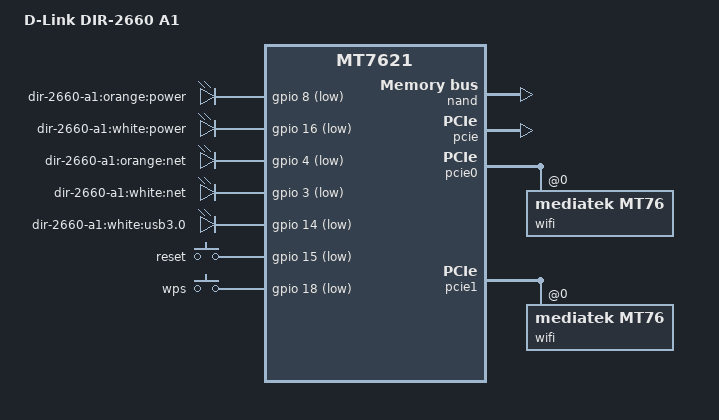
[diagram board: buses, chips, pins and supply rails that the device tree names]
/dts-v1/;

#include "mt7621.dtsi"

#include <dt-bindings/gpio/gpio.h>
#include <dt-bindings/input/input.h>

/ {
	compatible = "dlink,dir-2660-a1", "mediatek,mt7621-soc";
	model = "D-Link DIR-2660 A1";

	aliases {
		led-boot = &led_power_orange;
		led-failsafe = &led_power_white;
		led-running = &led_power_white;
		led-upgrade = &led_net_orange;
		label-mac-device = &gmac0;
	};

	chosen {
		bootargs = "console=ttyS0,57600";
	};

	leds {
		compatible = "gpio-leds";

		led_power_orange: power_orange {
			label = "dir-2660-a1:orange:power";
			gpios = <&gpio 8 GPIO_ACTIVE_LOW>;
		};

		led_power_white: power_white {
			label = "dir-2660-a1:white:power";
			gpios = <&gpio 16 GPIO_ACTIVE_LOW>;
		};

		led_net_orange: net_orange {
			label = "dir-2660-a1:orange:net";
			gpios = <&gpio 4 GPIO_ACTIVE_LOW>;
		};

		net_white {
			label = "dir-2660-a1:white:net";
			gpios = <&gpio 3 GPIO_ACTIVE_LOW>;
		};

		usb3_white {
			label = "dir-2660-a1:white:usb3.0";
			gpios = <&gpio 14 GPIO_ACTIVE_LOW>;
			trigger-sources = <&xhci_ehci_port1>;
			linux,default-trigger = "usbport";
		};
	};

	keys {
		compatible = "gpio-keys";

		reset {
			label = "reset";
			gpios = <&gpio 15 GPIO_ACTIVE_LOW>;
			linux,code = <KEY_RESTART>;
		};

		wps {
			label = "wps";
			gpios = <&gpio 18 GPIO_ACTIVE_LOW>;
			linux,code = <KEY_WPS_BUTTON>;
		};

	};
};

&nand {
	status = "okay";

	partitions {
		compatible = "fixed-partitions";
		#address-cells = <1>;
		#size-cells = <1>;

		partition@0 {
			label = "Bootloader";
			reg = <0x0 0x80000>;
			read-only;
		};

		partition@80000 {
			label = "config";
			reg = <0x80000 0x80000>;
			read-only;
		};

		factory: partition@100000 {
			label = "factory";
			reg = <0x100000 0x40000>;
			read-only;
		};

		partition@140000 {
			label = "config2";
			reg = <0x140000 0x40000>;
			read-only;
		};
		
		partition@180000 {
			label = "firmware";
			compatible = "sge,uimage";
			reg = <0x180000 0x2800000>;
		};

		partition@2980000 {
			label = "private";
			reg = <0x2980000 0x2000000>;
			read-only;
		};

		partition@4980000 {
			label = "firmware2";
			compatible = "sge,uimage";
			reg = <0x4980000 0x2800000>;
		};

		partition@7180000 {
			label = "mydlink";
			reg = <0x7180000 0x600000>;
			read-only;
		};

		partition@7780000 {
			label = "reserved";
			reg = <0x7780000 0x880000>;
			read-only;
		};
	};
};

&pcie {
	status = "okay";
};

&pcie0 {
	wifi@0,0 {
		compatible = "mediatek,mt76";
		reg = <0x0000 0 0 0 0>;
		mediatek,mtd-eeprom = <&factory 0x0000>;
		ieee80211-freq-limit = <2400000 2500000>;
		mtd-mac-address = <&factory 0xe000>;
		mtd-mac-address-increment = <1>;
		led {
			led-active-low;
		};
	};
};

&pcie1 {
	wifi@0,0 {
		compatible = "mediatek,mt76";
		reg = <0x0000 0 0 0 0>;
		mediatek,mtd-eeprom = <&factory 0x8000>;
		ieee80211-freq-limit = <5000000 6000000>;
		mtd-mac-address = <&factory 0xe000>;
		mtd-mac-address-increment = <2>;
		led {
			led-active-low;
		};
	};
};

&gmac0 {
	mtd-mac-address = <&factory 0xe000>;
};

&switch0 {
	ports {
		port@0 {
			status = "okay";
			label = "lan4";
		};

		port@1 {
			status = "okay";
			label = "lan3";
		};

		port@2 {
			status = "okay";
			label = "lan2";
		};

		port@3 {
			status = "okay";
			label = "lan1";
		};

		port@4 {
			status = "okay";
			label = "wan";
			mtd-mac-address = <&factory 0xe006>;
		};
	};
};

&state_default {
	gpio {
		groups = "uart3", "jtag", "wdt";
		function = "gpio";
	};
};
